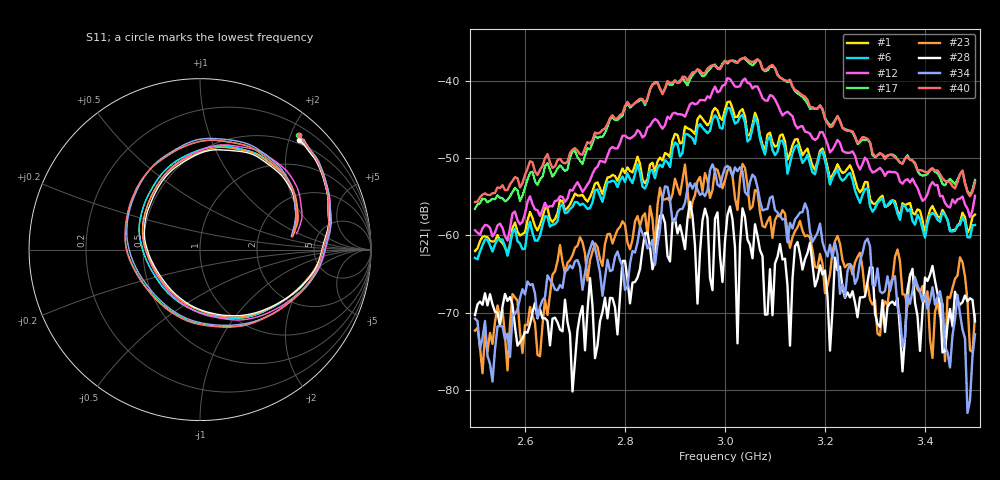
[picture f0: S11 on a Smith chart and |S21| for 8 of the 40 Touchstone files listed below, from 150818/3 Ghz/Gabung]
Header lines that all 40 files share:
# Hz S RI R 50
! CMT, C1220, 16058040, 17.2.0/1
! Data: Format (Calibration Info)
! Freq  S11: Re/Im (F2)  S21: Re/Im (F2)  S12: Re/Im (F2)  S22: Re/Im (F2)
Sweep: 2.5 GHz to 3.5 GHz
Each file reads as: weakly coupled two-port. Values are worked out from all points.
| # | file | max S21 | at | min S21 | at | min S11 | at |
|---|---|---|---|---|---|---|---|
| 1 | Sudut_210_Titik_7.s2p | -42.70 dB | 3.01 GHz | -62.4 dB | 2.565 GHz | -10.3 dB | 2.98 GHz |
| 2 | Sudut_210_Titik_9.s2p | -38.00 dB | 3.03 GHz | -56.9 dB | 3.49 GHz | -8.3 dB | 2.99 GHz |
| 3 | Sudut_220_Titik_2.s2p | -37.50 dB | 2.985 GHz | -64.6 dB | 2.67 GHz | -8.4 dB | 2.99 GHz |
| 4 | Sudut_220_Titik_4.s2p | -50.24 dB | 2.97 GHz | -89.7 dB | 3.49 GHz | -8.9 dB | 2.985 GHz |
| 5 | Sudut_220_Titik_6.s2p | -53.75 dB | 2.96 GHz | -93.3 dB | 3.4 GHz | -10.5 dB | 2.98 GHz |
| 6 | Sudut_220_Titik_7.s2p | -43.48 dB | 3.005 GHz | -63.1 dB | 2.505 GHz | -10.3 dB | 2.98 GHz |
| 7 | Sudut_230_Titik_4.s2p | -49.89 dB | 2.97 GHz | -86.8 dB | 3.45 GHz | -8.8 dB | 2.985 GHz |
| 8 | Sudut_230_Titik_5.s2p | -54.66 dB | 2.93 GHz | -85.5 dB | 2.7 GHz | -10.9 dB | 2.985 GHz |
| 9 | Sudut_230_Titik_6.s2p | -52.63 dB | 2.96 GHz | -92.4 dB | 3.3 GHz | -10.6 dB | 2.98 GHz |
| 10 | Sudut_230_Titik_8.s2p | -38.77 dB | 3.005 GHz | -59.6 dB | 2.535 GHz | -10.8 dB | 2.985 GHz |
| 11 | Sudut_240_Titik_6.s2p | -51.15 dB | 2.96 GHz | -89.9 dB | 3.41 GHz | -10.8 dB | 2.98 GHz |
| 12 | Sudut_240_Titik_8.s2p | -39.66 dB | 3.005 GHz | -60.7 dB | 2.565 GHz | -10.7 dB | 2.985 GHz |
| 13 | Sudut_250_Titik_2.s2p | -38.59 dB | 3.01 GHz | -67.1 dB | 3.46 GHz | -8.4 dB | 2.99 GHz |
| 14 | Sudut_250_Titik_4.s2p | -50.06 dB | 3.02 GHz | -89.0 dB | 2.575 GHz | -8.7 dB | 2.985 GHz |
| 15 | Sudut_250_Titik_6.s2p | -50.13 dB | 2.95 GHz | -89.7 dB | 2.565 GHz | -10.9 dB | 2.98 GHz |
| 16 | Sudut_250_Titik_8.s2p | -40.33 dB | 3.04 GHz | -61.2 dB | 2.535 GHz | -10.5 dB | 2.985 GHz |
| 17 | Sudut_260_Titik_1.s2p | -37.09 dB | 3.035 GHz | -56.5 dB | 2.5 GHz | -8.3 dB | 2.985 GHz |
| 18 | Sudut_260_Titik_7.s2p | -49.21 dB | 3.01 GHz | -66.2 dB | 2.565 GHz | -10.1 dB | 2.98 GHz |
| 19 | Sudut_270_Titik_1.s2p | -37.05 dB | 3.035 GHz | -57.0 dB | 2.5 GHz | -8.3 dB | 2.985 GHz |
| 20 | Sudut_270_Titik_2.s2p | -38.69 dB | 3.01 GHz | -64.8 dB | 2.69 GHz | -8.6 dB | 2.99 GHz |
| 21 | Sudut_270_Titik_3.s2p | -50.26 dB | 2.87 GHz | -76.3 dB | 2.505 GHz | -10.9 dB | 2.975 GHz |
| 22 | Sudut_270_Titik_4.s2p | -49.85 dB | 2.97 GHz | -93.8 dB | 2.515 GHz | -8.8 dB | 2.985 GHz |
| 23 | Sudut_270_Titik_6.s2p | -50.76 dB | 3.035 GHz | -77.8 dB | 2.515 GHz | -10.8 dB | 2.98 GHz |
| 24 | Sudut_280_Titik_3.s2p | -50.17 dB | 2.87 GHz | -75.6 dB | 2.505 GHz | -11.1 dB | 2.975 GHz |
| 25 | Sudut_290_Titik_2.s2p | -38.05 dB | 3.01 GHz | -65.5 dB | 2.655 GHz | -8.6 dB | 2.985 GHz |
| 26 | Sudut_290_Titik_3.s2p | -49.88 dB | 2.87 GHz | -74.1 dB | 2.5 GHz | -11.2 dB | 2.975 GHz |
| 27 | Sudut_290_Titik_4.s2p | -50.06 dB | 3.02 GHz | -83.3 dB | 2.575 GHz | -8.8 dB | 2.985 GHz |
| 28 | Sudut_290_Titik_5.s2p | -55.65 dB | 2.93 GHz | -80.2 dB | 2.695 GHz | -11.1 dB | 2.985 GHz |
| 29 | Sudut_290_Titik_7.s2p | -50.56 dB | 2.945 GHz | -67.4 dB | 3.4 GHz | -10.0 dB | 2.98 GHz |
| 30 | Sudut_300_Titik_1.s2p | -36.86 dB | 3.03 GHz | -56.5 dB | 2.5 GHz | -8.2 dB | 2.985 GHz |
| 31 | Sudut_300_Titik_2.s2p | -37.72 dB | 3.01 GHz | -66.0 dB | 2.655 GHz | -8.6 dB | 2.985 GHz |
| 32 | Sudut_300_Titik_7.s2p | -49.10 dB | 3.01 GHz | -66.0 dB | 3.45 GHz | -10.1 dB | 2.98 GHz |
| 33 | Sudut_310_Titik_3.s2p | -50.64 dB | 3.07 GHz | -73.1 dB | 2.5 GHz | -11.4 dB | 2.975 GHz |
| 34 | Sudut_310_Titik_4.s2p | -50.81 dB | 2.975 GHz | -83.0 dB | 3.485 GHz | -8.6 dB | 2.985 GHz |
| 35 | Sudut_310_Titik_5.s2p | -56.49 dB | 2.91 GHz | -90.2 dB | 2.645 GHz | -10.8 dB | 2.985 GHz |
| 36 | Sudut_320_Titik_2.s2p | -37.08 dB | 3.01 GHz | -62.6 dB | 2.655 GHz | -8.5 dB | 2.99 GHz |
| 37 | Sudut_320_Titik_4.s2p | -49.61 dB | 3.005 GHz | -91.6 dB | 3.49 GHz | -8.5 dB | 2.985 GHz |
| 38 | Sudut_320_Titik_6.s2p | -53.42 dB | 3.01 GHz | -101.3 dB | 3.36 GHz | -10.6 dB | 2.98 GHz |
| 39 | Sudut_320_Titik_8.s2p | -39.94 dB | 3.04 GHz | -61.2 dB | 2.535 GHz | -10.4 dB | 2.985 GHz |
| 40 | Sudut_320_Titik_9.s2p | -36.97 dB | 3.04 GHz | -55.7 dB | 2.5 GHz | -8.2 dB | 2.985 GHz |
